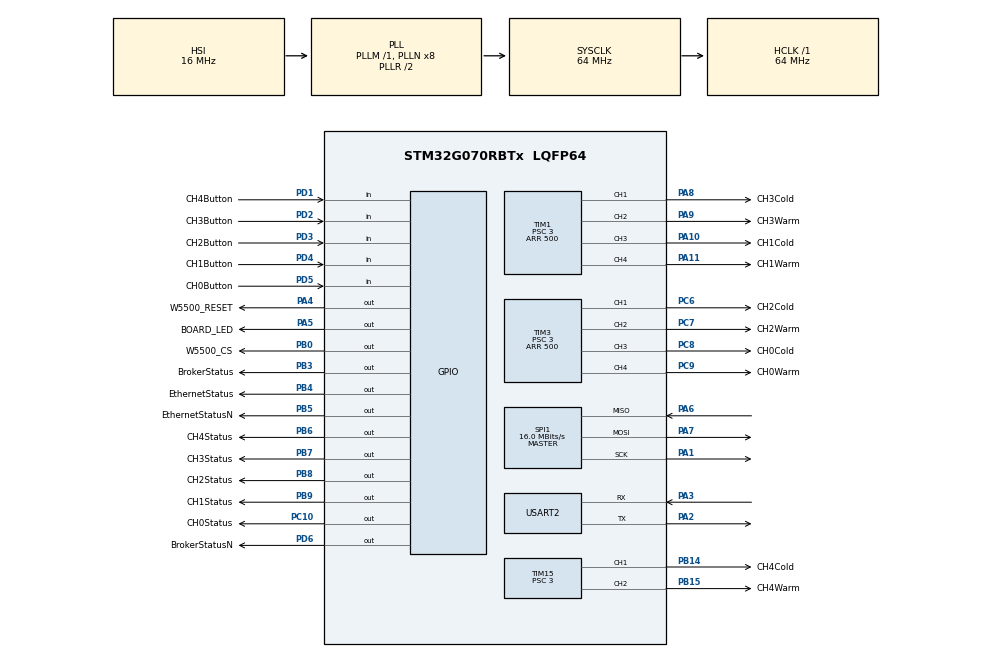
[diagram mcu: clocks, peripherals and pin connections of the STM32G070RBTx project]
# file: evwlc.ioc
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ADC1.Channel-1\#ChannelRegularConversion=ADC_CHANNEL_TEMPSENSOR
ADC1.ChannelTS=ADC_CHANNEL_TEMPSENSOR
ADC1.NbrOfConversionFlag=1
ADC1.Rank-1\#ChannelRegularConversion=1
ADC1.SamplingTime-1\#ChannelRegularConversion=ADC_SAMPLINGTIME_COMMON_1
ADC1.SelectedChannel=ADC_CHANNEL_TEMPSENSOR
ADC1.master=1
Mcu.Family=STM32G0
Mcu.Name=STM32G070RBTx
Mcu.Package=LQFP64
NVIC.TIM6_IRQn=true\:0\:0\:false\:false\:true\:true\:true
NVIC.USART2_IRQn=true\:0\:0\:false\:false\:true\:true\:true
PA1.Mode=Full_Duplex_Master
PA1.Signal=SPI1_SCK
PA10.GPIO_Label=CH1Cold
PA10.Signal=S_TIM1_CH3
PA11\ [PA9].GPIO_Label=CH1Warm
PA11\ [PA9].Signal=S_TIM1_CH4
PA2.Mode=Asynchronous
PA2.Signal=USART2_TX
PA3.Mode=Asynchronous
PA3.Signal=USART2_RX
PA4.GPIO_Label=W5500_RESET
PA4.GPIO_Speed=GPIO_SPEED_FREQ_HIGH
PA4.Signal=GPIO_Output
PA5.GPIO_Label=BOARD_LED
PA5.Signal=GPIO_Output
PA6.Mode=Full_Duplex_Master
PA6.Signal=SPI1_MISO
PA7.Mode=Full_Duplex_Master
PA7.Signal=SPI1_MOSI
PA8.GPIO_Label=CH3Cold
PA8.Signal=S_TIM1_CH1
PA9.GPIO_Label=CH3Warm
PA9.Signal=S_TIM1_CH2
PB0.GPIO_Label=W5500_CS
PB0.GPIO_Speed=GPIO_SPEED_FREQ_HIGH
PB0.Signal=GPIO_Output
PB14.GPIO_Label=CH4Cold
PB14.Signal=S_TIM15_CH1
PB15.GPIO_Label=CH4Warm
PB15.Signal=S_TIM15_CH2
PB3.GPIO_Label=BrokerStatus
PB3.Signal=GPIO_Output
PB4.GPIO_Label=EthernetStatus
PB4.Signal=GPIO_Output
PB5.GPIO_Label=EthernetStatusN
PB5.Signal=GPIO_Output
PB6.GPIO_Label=CH4Status
PB6.Signal=GPIO_Output
PB7.GPIO_Label=CH3Status
PB7.Signal=GPIO_Output
PB8.GPIO_Label=CH2Status
PB8.Signal=GPIO_Output
PB9.GPIO_Label=CH1Status
PB9.Signal=GPIO_Output
PC10.GPIO_Label=CH0Status
PC10.Signal=GPIO_Output
PC6.GPIO_Label=CH2Cold
PC6.Signal=S_TIM3_CH1
PC7.GPIO_Label=CH2Warm
PC7.Signal=S_TIM3_CH2
PC8.GPIO_Label=CH0Cold
PC8.Signal=S_TIM3_CH3
PC9.GPIO_Label=CH0Warm
PC9.Signal=S_TIM3_CH4
PD1.GPIO_Label=CH4Button
PD1.Signal=GPIO_Input
PD2.GPIO_Label=CH3Button
PD2.Signal=GPIO_Input
PD3.GPIO_Label=CH2Button
PD3.Signal=GPIO_Input
PD4.GPIO_Label=CH1Button
PD4.Signal=GPIO_Input
PD5.GPIO_Label=CH0Button
PD5.Signal=GPIO_Input
PD6.GPIO_Label=BrokerStatusN
PD6.Signal=GPIO_Output
ProjectManager.HeapSize=0x200
ProjectManager.StackSize=0x400
ProjectManager.TargetToolchain=STM32CubeIDE
RCC.ADCFreq_Value=64000000
RCC.AHBFreq_Value=64000000
RCC.CortexFreq_Value=64000000
RCC.EXTERNAL_CLOCK_VALUE=48000
RCC.HCLKFreq_Value=64000000
RCC.HSE_VALUE=8000000
RCC.HSI_VALUE=16000000
RCC.LSE_VALUE=32768
RCC.SYSCLKFreq_VALUE=64000000
RCC.SYSCLKSource=RCC_SYSCLKSOURCE_PLLCLK
RCC.VCOOutputFreq_Value=128000000
SH.S_TIM15_CH1.0=TIM15_CH1,PWM Generation1 CH1
SH.S_TIM15_CH2.0=TIM15_CH2,PWM Generation2 CH2
SH.S_TIM1_CH1.0=TIM1_CH1,PWM Generation1 CH1
SH.S_TIM1_CH2.0=TIM1_CH2,PWM Generation2 CH2
SH.S_TIM1_CH3.0=TIM1_CH3,PWM Generation3 CH3
SH.S_TIM1_CH4.0=TIM1_CH4,PWM Generation4 CH4
SH.S_TIM3_CH1.0=TIM3_CH1,PWM Generation1 CH1
SH.S_TIM3_CH2.0=TIM3_CH2,PWM Generation2 CH2
SH.S_TIM3_CH3.0=TIM3_CH3,PWM Generation3 CH3
SH.S_TIM3_CH4.0=TIM3_CH4,PWM Generation4 CH4
SPI1.BaudRatePrescaler=SPI_BAUDRATEPRESCALER_4
SPI1.CalculateBaudRate=16.0 MBits/s
SPI1.DataSize=SPI_DATASIZE_8BIT
SPI1.Direction=SPI_DIRECTION_2LINES
SPI1.Mode=SPI_MODE_MASTER
SPI1.VirtualType=VM_MASTER
TIM1.Channel-PWM\ Generation1\ CH1=TIM_CHANNEL_1
TIM1.Channel-PWM\ Generation2\ CH2=TIM_CHANNEL_2
TIM1.Channel-PWM\ Generation3\ CH3=TIM_CHANNEL_3
TIM1.Channel-PWM\ Generation4\ CH4=TIM_CHANNEL_4
TIM1.Period=500
TIM1.Prescaler=3
TIM15.Channel-PWM\ Generation1\ CH1=TIM_CHANNEL_1
TIM15.Channel-PWM\ Generation2\ CH2=TIM_CHANNEL_2
TIM15.Period=500
TIM15.Prescaler=3
TIM3.Channel-PWM\ Generation1\ CH1=TIM_CHANNEL_1
TIM3.Channel-PWM\ Generation2\ CH2=TIM_CHANNEL_2
TIM3.Channel-PWM\ Generation3\ CH3=TIM_CHANNEL_3
TIM3.Channel-PWM\ Generation4\ CH4=TIM_CHANNEL_4
TIM3.Period=500
TIM3.Prescaler=3
TIM6.Period=1
TIM6.Prescaler=64000-1
USART2.DMADisableonRxErrorParam=ADVFEATURE_DMA_DISABLEONRXERROR
USART2.OverrunDisableParam=ADVFEATURE_OVERRUN_DISABLE
USART2.VirtualMode-Asynchronous=VM_ASYNC
VP_ADC1_TempSens_Input.Mode=IN-TempSens
VP_CRC_VS_CRC.Mode=CRC_Activate
VP_SYS_VS_DBSignals.Mode=DisableDeadBatterySignals
VP_TIM15_VS_ClockSourceINT.Mode=Internal
VP_TIM1_VS_ClockSourceINT.Mode=Internal
VP_TIM3_VS_ClockSourceINT.Mode=Internal
VP_TIM6_VS_ClockSourceINT.Mode=Enable_Timer
board=custom

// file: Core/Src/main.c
/* USER CODE BEGIN Header */
/**
  ******************************************************************************
  * @file           : main.c
  * @brief          : Main program body
  ******************************************************************************
  * @attention
  *
  * Copyright (c) 2021 STMicroelectronics.
  * All rights reserved.
  *
  * This software is licensed under terms that can be found in the LICENSE file
  * in the root directory of this software component.
  * If no LICENSE file comes with this software, it is provided AS-IS.
  *
  ******************************************************************************
  */
/* USER CODE END Header */
#include "main.h"

/* USER CODE BEGIN Includes */
#include <stdio.h>
#include <string.h>
#include <stdbool.h>
#include "wiznet/socket.h"
#include "wiznet/w5500_spi.h"
#include "memory/memory.h"
#include "serial_interface/serial_interface.h"
#include "mqtt_interface.h"
#include "MQTTClient.h"
/* USER CODE END Includes */

/* USER CODE BEGIN PD */
#define HTTP_SOCKET 0
#define MQTT_SOCKET 1

#define RECONNECTION_DELAY 5000
#define UPTIME_SENDING_PERIOD 10000

#define HTTP_SERVER_PORT 80
/* USER CODE END PD */

ADC_HandleTypeDef hadc1;

CRC_HandleTypeDef hcrc;

SPI_HandleTypeDef hspi1;

TIM_HandleTypeDef htim1;
TIM_HandleTypeDef htim3;
TIM_HandleTypeDef htim6;
TIM_HandleTypeDef htim15;

UART_HandleTypeDef huart2;

/* USER CODE BEGIN PV */

bool outputMqttDataToSerial = true;

/* USER CODE END PV */

void SystemClock_Config(void);

static void MX_GPIO_Init(void);

static void MX_ADC1_Init(void);

static void MX_CRC_Init(void);

static void MX_SPI1_Init(void);

static void MX_TIM1_Init(void);

static void MX_TIM3_Init(void);

static void MX_TIM15_Init(void);

static void MX_USART2_UART_Init(void);

static void MX_TIM6_Init(void);

/* USER CODE BEGIN 0 */
uint8_t boardLedState = 0;

char serialNumber[27];

#define CHANNEL_STATES_NUMBER 5

unsigned char mqttSendBuf[512];

unsigned char mqttReceiveBuf[2048];

ChannelState_t channelStates[CHANNEL_STATES_NUMBER];
uint8_t initialActive[CHANNEL_STATES_NUMBER];
uint8_t initialBrightness[CHANNEL_STATES_NUMBER];
uint16_t initialColorTemperature[CHANNEL_STATES_NUMBER];

bool mqttConnected = false;
bool ethernetLink = false;
bool isW5500Inited = false;
bool waitingForEthernetLink = false;
uint16_t messageId = 0;
static char mqttTopicSetAll[128];
static char mqttTopicStateAll[128];
uint8_t mqttTopicSetAllDomainLength = 0;
uint8_t mqttTopicStateAllDomainLength = 0;

uint32_t counter = 0;
volatile uint32_t uptimeSeconds = 0;
volatile uint32_t connectionUptimeSeconds = 0;

uint32_t lastUptimeSendTime = 0;

Config_t config;

AnimationType_t *turnOnAnimation;
AnimationType_t *turnOffAnimation;

Network mqttNetwork;
MQTTClient mqttClient;

typedef enum {
    MF_INIT_START,
    MF_W5500_INITED,
    MF_WAITING_FOR_ETHERNET,
    MF_WAITING_FOR_MQTT_INIT,
    MF_RECONNECTION_TIMEOUT,
    MF_GENERAL_WORKFLOW
} MainFlowStateTypeDef;

static MainFlowStateTypeDef mainFlowState = MF_INIT_START;

uint8_t parseUint8(const char *data, size_t dataLength, uint8_t *result, uint8_t min, uint8_t max) {
    uint16_t buffer = 0;

    if (dataLength > 3) {
        return 0;
    }

    for (size_t i = 0; i < dataLength; ++i) {
        if (data[i] < '0' || data[i] > '9') {
            return 0;
        }

        buffer = buffer * 10 + (data[i] - '0');
    }

    if (buffer < min || buffer > max) {
        return 0;
    }

    *result = (uint8_t) buffer;
    return 1;
}

uint8_t
parseUint16(const char *data, size_t dataLength, uint16_t *result, uint16_t min, uint16_t max) {
    uint32_t buffer = 0;

    if (dataLength > 5) {
        return 0;
    }

    for (size_t i = 0; i < dataLength; ++i) {
        if (data[i] < '0' || data[i] > '9') {
            return 0;
        }

        buffer = buffer * 10 + (data[i] - '0');
    }

    if (buffer < min || buffer > max) {
        return 0;
    }

    *result = (uint16_t) buffer;
    return 1;
}

void publishChannelStateActive(ChannelState_t *channelState) {
    MQTTMessage pubMessage;

    char message[10];
    char topic[150];
    uint8_t rc;

    // active:
    sprintf(topic, "%s/state/%d/active", config.mqttTopic, channelState->id);
    pubMessage.qos = QOS0;
    pubMessage.id = messageId++;
    if (channelState->active) {
        pubMessage.payload = "on";
        pubMessage.payloadlen = 2;
    } else {
        pubMessage.payload = "off";
        pubMessage.payloadlen = 3;
    }
    pubMessage.retained = 1;
    rc = MQTTPublish(&mqttClient, topic, &pubMessage);
    if (outputMqttDataToSerial) {
        if (rc == SUCCESSS) {
            printf("Successfully sent \"%s\" = \"%.*s\"\r\n", topic, pubMessage.payloadlen,
                   (char *) pubMessage.payload);
        } else {
            printf("Unable to send \"%s\" = \"%.*s\"\r\n", topic, pubMessage.payloadlen,
                   (char *) pubMessage.payload);
        }
    }
}

void publishChannelStateBrightness(ChannelState_t *channelState) {
    MQTTMessage pubMessage;

    char message[5];
    char topic[150];
    uint8_t rc;

    sprintf(topic, "%s/state/%d/brightness", config.mqttTopic, channelState->id);
    sprintf(message, "%d", channelState->brightness);
    pubMessage.qos = QOS0;
    pubMessage.id = messageId++;
    pubMessage.payload = message;
    pubMessage.payloadlen = strlen(message);
    pubMessage.retained = 1;
    rc = MQTTPublish(&mqttClient, topic, &pubMessage);
    if (outputMqttDataToSerial) {
        if (rc == SUCCESSS) {
            printf("Successfully sent \"%s\" = \"%.*s\"\r\n", topic, pubMessage.payloadlen,
                   (char *) pubMessage.payload);
        } else {
            printf("Unable to send \"%s\" = \"%.*s\"\r\n", topic, pubMessage.payloadlen,
                   (char *) pubMessage.payload);
        }
    }
}

void publishChannelStateColorTemperature(ChannelState_t *channelState) {
    MQTTMessage pubMessage;

    char message[8];
    char topic[150];
    uint8_t rc;

    sprintf(topic, "%s/state/%d/colorTemperature", config.mqttTopic, channelState->id);
    sprintf(message, "%d", channelState->colorTemperature);
    pubMessage.qos = QOS0;
    pubMessage.id = messageId++;
    pubMessage.payload = message;
    pubMessage.payloadlen = strlen(message);
    pubMessage.retained = 1;
    rc = MQTTPublish(&mqttClient, topic, &pubMessage);
    if (outputMqttDataToSerial) {
        if (rc == SUCCESSS) {
            printf("Successfully sent \"%s\" = \"%.*s\"\r\n", topic, pubMessage.payloadlen,
                   (char *) pubMessage.payload);
        } else {
            printf("Unable to send \"%s\" = \"%.*s\"\r\n", topic, pubMessage.payloadlen,
                   (char *) pubMessage.payload);
        }
    }
}

void publishChannelState(ChannelState_t *channelState) {
    publishChannelStateBrightness(channelState);
    publishChannelStateColorTemperature(channelState);
    publishChannelStateActive(channelState);
}

uint16_t mapUnsigned(uint16_t x, uint16_t inMin, uint16_t inMax, uint16_t outMin, uint16_t outMax) {
    int32_t result = ((int32_t) x - (int32_t) inMin) * ((int32_t) outMax - (int32_t) outMin);
    result = result / ((int32_t) inMax - (int32_t) inMin) + outMin;

    return (uint16_t) result;
}

void setChannelState(ChannelState_t *channelState, uint8_t active, uint8_t brightness,
                     uint16_t colorTemperature) {

    bool changed = channelState->active != active
                   || channelState->brightness != brightness
                   || channelState->colorTemperature != colorTemperature;

    bool wasTurnedOff = !channelState->active;

    channelState->active = active;
    channelState->brightness = brightness;
    channelState->colorTemperature = colorTemperature;

    if (!changed || (wasTurnedOff && !active)) {
        return;
    }

    channelState->isAnimationInProgress = false;

    uint16_t warmStartValue = channelState->warmPwmValue;
    uint16_t coldStartValue = channelState->coldPwmValue;

    uint16_t maxCoefficient = (MAX_COLOR_TEMPERATURE_VALUE + MIN_COLOR_TEMPERATURE_VALUE) / 2 - MIN_COLOR_TEMPERATURE_VALUE;

    uint16_t warmCoefficient = channelState->colorTemperature - MIN_COLOR_TEMPERATURE_VALUE > maxCoefficient
                               ? MAX_COLOR_TEMPERATURE_VALUE - channelState->colorTemperature
                               : maxCoefficient;

    uint16_t coldCoefficient = channelState->colorTemperature - MIN_COLOR_TEMPERATURE_VALUE < maxCoefficient
                               ? channelState->colorTemperature - MIN_COLOR_TEMPERATURE_VALUE
                               : maxCoefficient;

    uint16_t targetBrightnessPWM = channelState->active ? mapUnsigned(
            channelState->brightness,
            MIN_BRIGHTNESS_VALUE,
            MAX_BRIGHTNESS_VALUE,
            MIN_PWM_VALUE,
            MAX_PWM_VALUE
    ) : 0;

    channelState->targetWarmPwmValue = mapUnsigned(
            warmCoefficient,
            0,
            maxCoefficient,
            MIN_PWM_VALUE,
            targetBrightnessPWM
    );

    channelState->targetColdPwmValue = mapUnsigned(
            coldCoefficient,
            0,
            maxCoefficient,
            MIN_PWM_VALUE,
            targetBrightnessPWM
    );

    int32_t warmPwmValueSpan = (int16_t) channelState->targetWarmPwmValue - warmStartValue;
    int32_t coldPwmValueSpan = (int16_t) channelState->targetColdPwmValue - coldStartValue;

    bool isWarmAnimationReversed = (warmPwmValueSpan < 0);
    bool isColdAnimationReversed = (coldPwmValueSpan < 0);

    uint16_t warmRangeStart = warmStartValue < channelState->targetWarmPwmValue
                              ? warmStartValue
                              : channelState->targetWarmPwmValue;
    uint16_t coldRangeStart = coldStartValue < channelState->targetColdPwmValue
                              ? coldStartValue
                              : channelState->targetColdPwmValue;

    uint16_t warmRangeEnd = warmStartValue > channelState->targetWarmPwmValue
                            ? warmStartValue
                            : channelState->targetWarmPwmValue;
    uint16_t coldRangeEnd = coldStartValue > channelState->targetColdPwmValue
                            ? coldStartValue
                            : channelState->targetColdPwmValue;

    for (uint16_t i = 0; i < ANIMATION_STEPS_NUMBER; ++i) {
        channelState->animationWarmChart[i] = mapUnsigned(
                isWarmAnimationReversed
                ? turnOffAnimation->chart[ANIMATION_STEPS_NUMBER - i - 1]
                : turnOnAnimation->chart[i],

                0,
                255,
                warmRangeStart,
                warmRangeEnd
        );

        channelState->animationColdChart[i] = mapUnsigned(
                isColdAnimationReversed
                ? turnOffAnimation->chart[ANIMATION_STEPS_NUMBER - i - 1]
                : turnOnAnimation->chart[i],

                0,
                255,
                coldRangeStart,
                coldRangeEnd
        );
    }

    channelState->animationStep = 0;
    channelState->isAnimationInProgress = true;
}

void stateChangedHandler(MessageData *messageData) {
    MQTTMessage *message = messageData->message;

    bool isStateTopic = false; // reading from 'state' topic instead of 'set'

    char value[40];

    if (strncmp(messageData->topicName->lenstring.data, mqttTopicStateAll,
                mqttTopicStateAllDomainLength) == 0) {
        isStateTopic = true;
    }

    if (isStateTopic) {
        memcpy(value,
               messageData->topicName->lenstring.data + mqttTopicStateAllDomainLength,
               messageData->topicName->lenstring.len - mqttTopicStateAllDomainLength);

        value[messageData->topicName->lenstring.len - mqttTopicStateAllDomainLength] = '\0';
    } else {
        memcpy(value,
               messageData->topicName->lenstring.data + mqttTopicSetAllDomainLength,
               messageData->topicName->lenstring.len - mqttTopicSetAllDomainLength);

        value[messageData->topicName->lenstring.len - mqttTopicSetAllDomainLength] = '\0';
    }

    if (!isStateTopic && messageData->message->retained) {
        // ignore retained "set" messages
        return;
    }

    if (value[0] < '0' || value[0] > (CHANNEL_STATES_NUMBER - 1) + '0' || value[1] != '/') {
#ifdef DEBUG_MODE
        if (outputMqttDataToSerial) {
            printf("Incorrect state message topic received: \"%s\"\r\n", value);
        }
#endif
        return;
    }

    uint8_t channelNumber = value[0] - '0';
    ChannelState_t *channelState = &channelStates[channelNumber];

    char *valuePtr = value + 2;
    uint8_t buffer;

    if (strcmp("active", valuePtr) == 0) {
        if (message->payloadlen == 2 && (strncasecmp(message->payload, "on", 2) == 0)) {
            if (isStateTopic) {
#ifdef DEBUG_MODE
                if (outputMqttDataToSerial) {
                    printf("Received from STATE topic: %d ON\r\n", channelState->id);
                }
#endif
                initialActive[channelState->id] = 1;
            } else {
#ifdef DEBUG_MODE
                if (outputMqttDataToSerial) {
                    printf("Received from SET topic: %d ON\r\n", channelState->id);
                }
#endif
                setChannelState(channelState, 1, channelState->brightness,
                                channelState->colorTemperature);
                publishChannelStateActive(channelState);
            }
        } else if (message->payloadlen == 3 && (strncasecmp(message->payload, "off", 3) == 0)) {
            if (isStateTopic) {
#ifdef DEBUG_MODE
                if (outputMqttDataToSerial) {
                    printf("Received from STATE topic: %d OFF\r\n", channelState->id);
                }
#endif
                initialActive[channelState->id] = 0;
            } else {
#ifdef DEBUG_MODE
                if (outputMqttDataToSerial) {
                    printf("Received from SET topic: %d OFF\r\n", channelState->id);
                }
#endif
                setChannelState(channelState, 0, channelState->brightness,
                                channelState->colorTemperature);
                publishChannelStateActive(channelState);
            }
        } else if (message->payloadlen == 6 && (strncasecmp(message->payload, "toggle", 6) == 0)) {
            if (isStateTopic) {
#ifdef DEBUG_MODE
                if (outputMqttDataToSerial) {
                    printf("Received from STATE topic: %d TOGGLE\r\n", channelState->id);
                }
#endif
                initialActive[channelState->id] = !channelState->active;
            } else {
#ifdef DEBUG_MODE
                if (outputMqttDataToSerial) {
                    printf("Received from SET topic: %d TOGGLE\r\n", channelState->id);
                }
#endif
                setChannelState(channelState, !channelState->active, channelState->brightness,
                                channelState->colorTemperature);
                publishChannelStateActive(channelState);
            }
        } else {
#ifdef DEBUG_MODE
            if (outputMqttDataToSerial) {
                printf("Incorrect active state value: \"%.*s\"\r\n", message->payloadlen,
                       (char *) message->payload);
            }
#endif
        }
    } else if (strcmp("brightness", valuePtr) == 0) {
        if (!parseUint8(message->payload, message->payloadlen, &buffer, 1, 255)) {
#ifdef DEBUG_MODE
            if (outputMqttDataToSerial) {
                printf("Incorrect brightness state value: \"%.*s\"\r\n", message->payloadlen,
                       (char *) message->payload);
            }
#endif
        } else {
            if (isStateTopic) {
#ifdef DEBUG_MODE
                if (outputMqttDataToSerial) {
                    printf("Received from STATE topic: %d brightness=%d\r\n", channelState->id,
                           buffer);
                }
#endif
                initialBrightness[channelState->id] = buffer;
            } else {
#ifdef DEBUG_MODE
                if (outputMqttDataToSerial) {
                    printf("Received from SET topic: %d brightness=%d\r\n", channelState->id,
                           buffer);
                }
#endif
                setChannelState(channelState, channelState->active, buffer,
                                channelState->colorTemperature);
                publishChannelStateBrightness(channelState);
            }
        }
    } else if (strcmp("colorTemperature", valuePtr) == 0) {
        uint16_t bufferColorTemperature = 0;
        if (!parseUint16(message->payload, message->payloadlen, &bufferColorTemperature,
                         MIN_COLOR_TEMPERATURE_VALUE,
                         MAX_COLOR_TEMPERATURE_VALUE)) {
#ifdef DEBUG_MODE
            if (outputMqttDataToSerial) {
                printf("Incorrect colorTemperature state value: \"%.*s\"\r\n", message->payloadlen,
                       (char *) message->payload);
            }
#endif
        } else {
            if (isStateTopic) {
#ifdef DEBUG_MODE
                if (outputMqttDataToSerial) {
                    printf("Received from STATE topic: %d colorTemperature=%d\r\n",
                           channelState->id,
                           bufferColorTemperature);
                }
#endif
                initialColorTemperature[channelState->id] = bufferColorTemperature;
            } else {
#ifdef DEBUG_MODE
                if (outputMqttDataToSerial) {
                    printf("Received from SET topic: %d colorTemperature=%d\r\n",
                           channelState->id,
                           bufferColorTemperature);
                }
#endif
                setChannelState(channelState, channelState->active, channelState->brightness,
                                bufferColorTemperature);
                publishChannelStateColorTemperature(channelState);
            }
        }
    } else {
        if (outputMqttDataToSerial) {
            printf("Undefined state name \"%s\" for channel %d\r\n", valuePtr, channelNumber);
        }
    }
}

bool mqttInit() {
    int result;

    bool functionResult = false;

    sprintf(mqttTopicStateAll, "%s/state/#", config.mqttTopic);
    mqttTopicStateAllDomainLength = strlen(mqttTopicStateAll) - 1;

    sprintf(mqttTopicSetAll, "%s/set/#", config.mqttTopic);
    mqttTopicSetAllDomainLength = strlen(mqttTopicSetAll) - 1;

    NewNetwork(&mqttNetwork, MQTT_SOCKET);
    result = ConnectNetwork(&mqttNetwork, config.mqttBrokerAddress, config.mqttBrokerPort);

#ifdef DEBUG_MODE
    if (outputMqttDataToSerial) {
        printf("ConnectNetwork:%d\r\n", result);
    }
#endif

    if (result == 0) {
        if (outputMqttDataToSerial) {
            printf("Unable to connect to MQTT broker: the broker is not available. Check ip address, port or firewall settings.\r\n");
        }
        return false;
    } else {
        if (outputMqttDataToSerial) {
            printf("Successfully connected to MQTT broker.\r\n");
        }
    }

    MQTTClientInit(&mqttClient, &mqttNetwork, 1000, mqttSendBuf, sizeof mqttSendBuf, mqttReceiveBuf,
                   sizeof mqttReceiveBuf);

    char topic[150];

    MQTTPacket_connectData mqttConnectData = MQTTPacket_connectData_initializer;
    mqttConnectData.willFlag = 1;
    MQTTPacket_willOptions willOptions = MQTTPacket_willOptions_initializer;
    sprintf(topic, "%s/status", config.mqttTopic);
    willOptions.topicName.cstring = topic;
    willOptions.retained = 1;
    willOptions.message.cstring = "offline";
    willOptions.qos = QOS0;
    mqttConnectData.will = willOptions;
    mqttConnectData.MQTTVersion = 4;
    mqttConnectData.clientID.cstring = config.mqttClientId;
    mqttConnectData.username.cstring = config.mqttLogin;
    mqttConnectData.password.cstring = config.mqttPassword;

    mqttConnectData.keepAliveInterval = 60;
    mqttConnectData.cleansession = 1;

    enum returnCode rc;

    rc = MQTTConnect(&mqttClient, &mqttConnectData);
    if (rc == SUCCESSS) {
        if (outputMqttDataToSerial) {
            printf("Successfully passed auth at MQTT broker\r\n");
        }
        connectionUptimeSeconds = 0;
    } else {
        if (outputMqttDataToSerial) {
            printf("Unable to auth at MQTT broker. Check login or password\r\n");
        }
        return false;
    }

    for (uint8_t i = 0; i < CHANNEL_STATES_NUMBER; ++i) {
        initialActive[i] = channelStates[i].active;
        initialBrightness[i] = channelStates[i].brightness;
        initialColorTemperature[i] = channelStates[i].colorTemperature;
    }

    // subscribe to state topic to get initial data (from retained messages)

    rc = MQTTSubscribe(&mqttClient, mqttTopicStateAll, QOS0, stateChangedHandler);
    if (rc == SUCCESSS) {
#ifdef DEBUG_MODE
        if (outputMqttDataToSerial) {
            printf("Subscribed to topic \"%s\"\r\n", mqttTopicStateAll);
        }
#endif
    } else {
        if (outputMqttDataToSerial) {
            printf("Unable to subscribe to topic \"%s\"\r\n", mqttTopicStateAll);
        }
        MQTTDisconnect(&mqttClient);
        return false;
    }

    // unsubscribe from state topic, all retained messages are already received:
    rc = MQTTUnsubscribe(&mqttClient, mqttTopicStateAll);
    if (rc == SUCCESSS) {
#ifdef DEBUG_MODE
        if (outputMqttDataToSerial) {
            printf("Unsubscribed from topic \"%s\"\r\n", mqttTopicStateAll);
        }
#endif
    } else {
        if (outputMqttDataToSerial) {
            printf("Unable to unsubscribe from topic \"%s\"\r\n", mqttTopicStateAll);
        }
        MQTTDisconnect(&mqttClient);
        return false;
    }

    for (uint8_t i = 0; i < CHANNEL_STATES_NUMBER; ++i) {
        setChannelState(&channelStates[i], initialActive[i], initialBrightness[i],
                        initialColorTemperature[i]);
        publishChannelState(&channelStates[i]);
    }

    // subscribe to /set/ topic to receive control operations:
    rc = MQTTSubscribe(&mqttClient, mqttTopicSetAll, QOS0, stateChangedHandler);
    if (rc == SUCCESSS) {
#ifdef DEBUG_MODE
        if (outputMqttDataToSerial) {
            printf("Subscribed to topic \"%s\"\r\n", mqttTopicSetAll);
        }
#endif
    } else {
        if (outputMqttDataToSerial) {
            printf("Unable to subscribe to topic \"%s\"\r\n", mqttTopicSetAll);
        }
        MQTTDisconnect(&mqttClient);
        return false;
    }

    MQTTMessage pubMessage;

    char message[] = "online";

    sprintf(topic, "%s/status", config.mqttTopic);

    pubMessage.qos = QOS0;
    pubMessage.id = messageId++;
    pubMessage.payload = message;
    pubMessage.payloadlen = sizeof message - 1;
    pubMessage.retained = 1;
    rc = MQTTPublish(&mqttClient, topic, &pubMessage);
    if (rc == SUCCESSS) {
#ifdef DEBUG_MODE
        if (outputMqttDataToSerial) {
            printf("Online message is sent to topic \"%s\"\r\n", topic);
        }
#endif
    } else {
#ifdef DEBUG_MODE
        if (outputMqttDataToSerial) {
            printf("Unable to send online message\r\n");
        }
#endif
    }
}

void sendUptime() {
    MQTTMessage pubMessage;
    char topic[120];
    sprintf(topic, "%s/uptimeSeconds", config.mqttTopic);
    char message[12];
    sprintf(message, "%lu", uptimeSeconds);

    pubMessage.qos = QOS0;
    pubMessage.payload = message;
    pubMessage.payloadlen = strlen(message);
    pubMessage.retained = 0;

    if (MQTTPublish(&mqttClient, topic, &pubMessage) == SUCCESSS) {
        if (outputMqttDataToSerial) {
            printf("Message is sent to topic \"%s\"\r\n", topic);
        }
    } else {
        if (outputMqttDataToSerial) {
            printf("Unable to send the uptime message\r\n");
        }
    }

    lastUptimeSendTime = HAL_GetTick();
}

void sendConnectionUptime() {
    MQTTMessage pubMessage;
    char topic[120];
    sprintf(topic, "%s/connectionUptimeSeconds", config.mqttTopic);
    char message[12];
    sprintf(message, "%lu", connectionUptimeSeconds);

    pubMessage.qos = QOS0;
    pubMessage.payload = message;
    pubMessage.payloadlen = strlen(message);
    pubMessage.retained = 0;

    if (MQTTPublish(&mqttClient, topic, &pubMessage) == SUCCESSS) {
        if (outputMqttDataToSerial) {
            printf("Message is sent to topic \"%s\"\r\n", topic);
        }
    } else {
        if (outputMqttDataToSerial) {
            printf("Unable to send the connectionUptime message\r\n");
        }
    }

    lastUptimeSendTime = HAL_GetTick();
}

static uint16_t timerSecondCounter = 0;
static uint8_t timerAnimationFrameCounter = 0;

void timerTick() {
    // timer ticks each 1ms

    ++timerSecondCounter;
    ++timerAnimationFrameCounter;

    if (timerSecondCounter >= 1000) {
        timerSecondCounter = 0;
        ++uptimeSeconds;
        ++connectionUptimeSeconds;
    }

    if (timerAnimationFrameCounter >= 3) {
        timerAnimationFrameCounter = 0;

        for (uint8_t i = 0; i < CHANNEL_STATES_NUMBER; ++i) {
            ChannelState_t *channelState = &(channelStates[i]);
            if (!channelState->isAnimationInProgress) {
                continue;
            }

            if (channelState->animationStep >= ANIMATION_STEPS_NUMBER) {
                channelState->isAnimationInProgress = false;
                channelState->animationStep = 0;

                channelState->warmPwmValue = channelState->targetWarmPwmValue;
                channelState->coldPwmValue = channelState->targetColdPwmValue;
                *channelState->warmTimerCCR = channelState->warmPwmValue;
                *channelState->coldTimerCCR = channelState->coldPwmValue;
                continue;
            }

            channelState->warmPwmValue = channelState->animationWarmChart[channelState->animationStep];
            channelState->coldPwmValue = channelState->animationColdChart[channelState->animationStep];

            *channelState->warmTimerCCR = channelState->warmPwmValue;
            *channelState->coldTimerCCR = channelState->coldPwmValue;

            ++channelState->animationStep;
        }
    }
}

void initChannelStates() {
    channelStates[0].warmTimerHandle = &htim3;
    channelStates[0].warmTimerChannel = TIM_CHANNEL_4;
    channelStates[0].warmTimerCCR = &(htim3.Instance->CCR4);
    channelStates[0].coldTimerHandle = &htim3;
    channelStates[0].coldTimerChannel = TIM_CHANNEL_3;
    channelStates[0].coldTimerCCR = &(htim3.Instance->CCR3);

    channelStates[1].warmTimerHandle = &htim1;
    channelStates[1].warmTimerChannel = TIM_CHANNEL_4;
    channelStates[1].warmTimerCCR = &(htim1.Instance->CCR4);
    channelStates[1].coldTimerHandle = &htim1;
    channelStates[1].coldTimerChannel = TIM_CHANNEL_3;
    channelStates[1].coldTimerCCR = &(htim1.Instance->CCR3);

    channelStates[2].warmTimerHandle = &htim3;
    channelStates[2].warmTimerChannel = TIM_CHANNEL_2;
    channelStates[2].warmTimerCCR = &(htim3.Instance->CCR2);
    channelStates[2].coldTimerHandle = &htim3;
    channelStates[2].coldTimerChannel = TIM_CHANNEL_1;
    channelStates[2].coldTimerCCR = &(htim3.Instance->CCR1);

    channelStates[3].warmTimerHandle = &htim1;
    channelStates[3].warmTimerChannel = TIM_CHANNEL_2;
    channelStates[3].warmTimerCCR = &(htim1.Instance->CCR2);
    channelStates[3].coldTimerHandle = &htim1;
    channelStates[3].coldTimerChannel = TIM_CHANNEL_1;
    channelStates[3].coldTimerCCR = &(htim1.Instance->CCR1);

    channelStates[4].warmTimerHandle = &htim15;
    channelStates[4].warmTimerChannel = TIM_CHANNEL_2;
    channelStates[4].warmTimerCCR = &(htim15.Instance->CCR2);
    channelStates[4].coldTimerHandle = &htim15;
    channelStates[4].coldTimerChannel = TIM_CHANNEL_1;
    channelStates[4].coldTimerCCR = &(htim15.Instance->CCR1);

    for (uint32_t i = 0; i < CHANNEL_STATES_NUMBER; ++i) {
        ChannelState_t *channelState = &(channelStates[i]);
        channelState->id = i;
        channelState->isAnimationInProgress = false;
        memset(channelState->animationColdChart, 0, ANIMATION_STEPS_NUMBER);
        memset(channelState->animationWarmChart, 0, ANIMATION_STEPS_NUMBER);
        channelState->animationStep = 0;
        channelState->coldPwmValue = 0;
        channelState->warmPwmValue = 0;
        channelState->targetColdPwmValue = 0;
        channelState->targetWarmPwmValue = 0;

        channelStates[i].active = 0;
        channelStates[i].brightness = (MAX_BRIGHTNESS_VALUE + MIN_BRIGHTNESS_VALUE) / 2;
        channelStates[i].colorTemperature =
                (MAX_COLOR_TEMPERATURE_VALUE + MIN_COLOR_TEMPERATURE_VALUE) / 2;

        HAL_TIM_PWM_Start(channelStates[i].warmTimerHandle, channelStates[i].warmTimerChannel);
        HAL_TIM_PWM_Start(channelStates[i].coldTimerHandle, channelStates[i].coldTimerChannel);
    }
}

uint32_t reconnectionStartTime = 0;
uint32_t reconnectionTimeout = 3000;

/**
 * Changes mainFlowState to MF_RECONNECTION_TIMEOUT
 */
void reconnect() {
    reconnectionStartTime = HAL_GetTick();
    mainFlowState = MF_RECONNECTION_TIMEOUT;
    if (outputMqttDataToSerial) {
        printf("Reconnection timeout %lus\r\n", reconnectionTimeout / 1000);
    }
}

/* USER CODE END 0 */

int main(void) {

    /* MCU Configuration--------------------------------------------------------*/

    /* Reset of all peripherals, Initializes the Flash interface and the Systick. */
    HAL_Init();

    /* Configure the system clock */
    SystemClock_Config();

    /* Initialize all configured peripherals */
    MX_GPIO_Init();
    MX_ADC1_Init();
    MX_CRC_Init();
    MX_SPI1_Init();
    MX_TIM1_Init();
    MX_TIM3_Init();
    MX_TIM15_Init();
    MX_USART2_UART_Init();
    MX_TIM6_Init();
    /* USER CODE BEGIN 2 */
    // read serial number:

    turnOnAnimation = &animations[1];
    turnOffAnimation = &animations[3];

    sprintf(serialNumber, "%08lx-%08lx-%08lx", HAL_GetUIDw0(), HAL_GetUIDw1(), HAL_GetUIDw2());
    initSerialInterface(&huart2, serialNumber);
    printf("\r\n\r\n");

    printf("Serial Number: \"%s\"\r\n", serialNumber);
    printf("Size of config: %d\r\n", sizeof config);

    readMemoryConfig(CONFIG_VERSION, &config);

    printf("Initializing W5500...\r\n");
    W5500Init(&config);
    printNetworkInfo();
    mainFlowState = MF_W5500_INITED;

    HAL_TIM_Base_Start_IT(&htim6);

    initChannelStates();
    /* USER CODE END 2 */

    /* Infinite loop */
    /* USER CODE BEGIN WHILE */
    while (1) {
        serialPortRoutine();

        switch (mainFlowState) {
            case MF_INIT_START:
                if (outputMqttDataToSerial) {
                    printf("Initializing W5500...\r\n");
                }
                W5500Init(&config);
                printNetworkInfo();
                mainFlowState = MF_W5500_INITED;
                break;
            case MF_W5500_INITED:
                if (outputMqttDataToSerial) {
                    printf("W5500 is initialized. Waiting for ethernet link...\r\n");
                }
                mainFlowState = MF_WAITING_FOR_ETHERNET;
                break;
            case MF_WAITING_FOR_ETHERNET:
                if (isEthernetLink()) {
                    if (outputMqttDataToSerial) {
                        printf("Ethernet link is established\r\n");
                    }
                    mainFlowState = MF_WAITING_FOR_MQTT_INIT;
                }
                break;
            case MF_WAITING_FOR_MQTT_INIT:
                if (outputMqttDataToSerial) {
                    printf("Trying to connect to MQTT broker...\r\n");
                }
                if (mqttInit()) {
                    mainFlowState = MF_GENERAL_WORKFLOW;
                } else {
                    reconnect();
                }

                break;
            case MF_RECONNECTION_TIMEOUT:
                if (HAL_GetTick() - reconnectionStartTime > reconnectionTimeout) {
                    mainFlowState = MF_INIT_START;
                }
                break;
            case MF_GENERAL_WORKFLOW:
                if (MQTTYield(&mqttClient, 1000) != SUCCESSS) {
                    mqttConnected = false;
                    if (outputMqttDataToSerial) {
                        printf("MQTT connection failed\r\n");
                    }
                }

                if (HAL_GetTick() - lastUptimeSendTime > UPTIME_SENDING_PERIOD) {
                    sendConnectionUptime();
                    sendUptime();
                }

                uint8_t socketStatus = getSn_SR(MQTT_SOCKET);

                if (socketStatus != SOCK_ESTABLISHED) {
                    if (outputMqttDataToSerial) {
                        printf("Socket status has changed: %x\r\n", socketStatus);
                        printf("MQTT broker has disconnected\r\n");
                    }
                    reconnect();
                }

                if (!isEthernetLink()) {
                    if (outputMqttDataToSerial) {
                        printf("Ethernet disconnected\r\n");
                    }
                    reconnect();
                }
                break;

            default:
                break;
        }
        /* USER CODE END WHILE */

    }
}

void SystemClock_Config(void) {
    RCC_OscInitTypeDef RCC_OscInitStruct = {0};
    RCC_ClkInitTypeDef RCC_ClkInitStruct = {0};

    /** Configure the main internal regulator output voltage
    */
    HAL_PWREx_ControlVoltageScaling(PWR_REGULATOR_VOLTAGE_SCALE1);
    /** Initializes the RCC Oscillators according to the specified parameters
    * in the RCC_OscInitTypeDef structure.
    */
    RCC_OscInitStruct.OscillatorType = RCC_OSCILLATORTYPE_HSI;
    RCC_OscInitStruct.HSIState = RCC_HSI_ON;
    RCC_OscInitStruct.HSIDiv = RCC_HSI_DIV1;
    RCC_OscInitStruct.HSICalibrationValue = RCC_HSICALIBRATION_DEFAULT;
    RCC_OscInitStruct.PLL.PLLState = RCC_PLL_ON;
    RCC_OscInitStruct.PLL.PLLSource = RCC_PLLSOURCE_HSI;
    RCC_OscInitStruct.PLL.PLLM = RCC_PLLM_DIV1;
    RCC_OscInitStruct.PLL.PLLN = 8;
    RCC_OscInitStruct.PLL.PLLP = RCC_PLLP_DIV2;
    RCC_OscInitStruct.PLL.PLLR = RCC_PLLR_DIV2;
    if (HAL_RCC_OscConfig(&RCC_OscInitStruct) != HAL_OK) {
        Error_Handler();
    }
    /** Initializes the CPU, AHB and APB buses clocks
    */
    RCC_ClkInitStruct.ClockType = RCC_CLOCKTYPE_HCLK | RCC_CLOCKTYPE_SYSCLK
                                  | RCC_CLOCKTYPE_PCLK1;
    RCC_ClkInitStruct.SYSCLKSource = RCC_SYSCLKSOURCE_PLLCLK;
    RCC_ClkInitStruct.AHBCLKDivider = RCC_SYSCLK_DIV1;
    RCC_ClkInitStruct.APB1CLKDivider = RCC_HCLK_DIV1;

    if (HAL_RCC_ClockConfig(&RCC_ClkInitStruct, FLASH_LATENCY_2) != HAL_OK) {
        Error_Handler();
    }
}

static void MX_ADC1_Init(void) {

    ADC_ChannelConfTypeDef sConfig = {0};

    /** Configure the global features of the ADC (Clock, Resolution, Data Alignment and number of conversion)
    */
    hadc1.Instance = ADC1;
    hadc1.Init.ClockPrescaler = ADC_CLOCK_SYNC_PCLK_DIV2;
    hadc1.Init.Resolution = ADC_RESOLUTION_12B;
    hadc1.Init.DataAlign = ADC_DATAALIGN_RIGHT;
    hadc1.Init.ScanConvMode = ADC_SCAN_DISABLE;
    hadc1.Init.EOCSelection = ADC_EOC_SINGLE_CONV;
    hadc1.Init.LowPowerAutoWait = DISABLE;
    hadc1.Init.LowPowerAutoPowerOff = DISABLE;
    hadc1.Init.ContinuousConvMode = DISABLE;
    hadc1.Init.NbrOfConversion = 1;
    hadc1.Init.DiscontinuousConvMode = DISABLE;
    hadc1.Init.ExternalTrigConv = ADC_SOFTWARE_START;
    hadc1.Init.ExternalTrigConvEdge = ADC_EXTERNALTRIGCONVEDGE_NONE;
    hadc1.Init.DMAContinuousRequests = DISABLE;
    hadc1.Init.Overrun = ADC_OVR_DATA_PRESERVED;
    hadc1.Init.SamplingTimeCommon1 = ADC_SAMPLETIME_1CYCLE_5;
    hadc1.Init.SamplingTimeCommon2 = ADC_SAMPLETIME_1CYCLE_5;
    hadc1.Init.OversamplingMode = DISABLE;
    hadc1.Init.TriggerFrequencyMode = ADC_TRIGGER_FREQ_HIGH;
    if (HAL_ADC_Init(&hadc1) != HAL_OK) {
        Error_Handler();
    }
    /** Configure Regular Channel
    */
    sConfig.Channel = ADC_CHANNEL_TEMPSENSOR;
    sConfig.Rank = ADC_REGULAR_RANK_1;
    sConfig.SamplingTime = ADC_SAMPLINGTIME_COMMON_1;
    if (HAL_ADC_ConfigChannel(&hadc1, &sConfig) != HAL_OK) {
        Error_Handler();
    }

}

static void MX_CRC_Init(void) {

    hcrc.Instance = CRC;
    hcrc.Init.DefaultPolynomialUse = DEFAULT_POLYNOMIAL_ENABLE;
    hcrc.Init.DefaultInitValueUse = DEFAULT_INIT_VALUE_ENABLE;
    hcrc.Init.InputDataInversionMode = CRC_INPUTDATA_INVERSION_NONE;
    hcrc.Init.OutputDataInversionMode = CRC_OUTPUTDATA_INVERSION_DISABLE;
    hcrc.InputDataFormat = CRC_INPUTDATA_FORMAT_BYTES;
    if (HAL_CRC_Init(&hcrc) != HAL_OK) {
        Error_Handler();
    }

}

static void MX_SPI1_Init(void) {

    /* SPI1 parameter configuration*/
    hspi1.Instance = SPI1;
    hspi1.Init.Mode = SPI_MODE_MASTER;
    hspi1.Init.Direction = SPI_DIRECTION_2LINES;
    hspi1.Init.DataSize = SPI_DATASIZE_8BIT;
    hspi1.Init.CLKPolarity = SPI_POLARITY_LOW;
    hspi1.Init.CLKPhase = SPI_PHASE_1EDGE;
    hspi1.Init.NSS = SPI_NSS_SOFT;
    hspi1.Init.BaudRatePrescaler = SPI_BAUDRATEPRESCALER_4;
    hspi1.Init.FirstBit = SPI_FIRSTBIT_MSB;
    hspi1.Init.TIMode = SPI_TIMODE_DISABLE;
    hspi1.Init.CRCCalculation = SPI_CRCCALCULATION_DISABLE;
    hspi1.Init.CRCPolynomial = 7;
    hspi1.Init.CRCLength = SPI_CRC_LENGTH_DATASIZE;
    hspi1.Init.NSSPMode = SPI_NSS_PULSE_ENABLE;
    if (HAL_SPI_Init(&hspi1) != HAL_OK) {
        Error_Handler();
    }

}

static void MX_TIM1_Init(void) {

    TIM_ClockConfigTypeDef sClockSourceConfig = {0};
    TIM_MasterConfigTypeDef sMasterConfig = {0};
    TIM_OC_InitTypeDef sConfigOC = {0};
    TIM_BreakDeadTimeConfigTypeDef sBreakDeadTimeConfig = {0};

    htim1.Instance = TIM1;
    htim1.Init.Prescaler = 3;
    htim1.Init.CounterMode = TIM_COUNTERMODE_UP;
    htim1.Init.Period = 500;
    htim1.Init.ClockDivision = TIM_CLOCKDIVISION_DIV1;
    htim1.Init.RepetitionCounter = 0;
    htim1.Init.AutoReloadPreload = TIM_AUTORELOAD_PRELOAD_DISABLE;
    if (HAL_TIM_Base_Init(&htim1) != HAL_OK) {
        Error_Handler();
    }
    sClockSourceConfig.ClockSource = TIM_CLOCKSOURCE_INTERNAL;
    if (HAL_TIM_ConfigClockSource(&htim1, &sClockSourceConfig) != HAL_OK) {
        Error_Handler();
    }
    if (HAL_TIM_PWM_Init(&htim1) != HAL_OK) {
        Error_Handler();
    }
    sMasterConfig.MasterOutputTrigger = TIM_TRGO_RESET;
    sMasterConfig.MasterOutputTrigger2 = TIM_TRGO2_RESET;
    sMasterConfig.MasterSlaveMode = TIM_MASTERSLAVEMODE_DISABLE;
    if (HAL_TIMEx_MasterConfigSynchronization(&htim1, &sMasterConfig) != HAL_OK) {
        Error_Handler();
    }
    sConfigOC.OCMode = TIM_OCMODE_PWM1;
    sConfigOC.Pulse = 0;
    sConfigOC.OCPolarity = TIM_OCPOLARITY_HIGH;
    sConfigOC.OCNPolarity = TIM_OCNPOLARITY_HIGH;
    sConfigOC.OCFastMode = TIM_OCFAST_DISABLE;
    sConfigOC.OCIdleState = TIM_OCIDLESTATE_RESET;
    sConfigOC.OCNIdleState = TIM_OCNIDLESTATE_RESET;
    if (HAL_TIM_PWM_ConfigChannel(&htim1, &sConfigOC, TIM_CHANNEL_1) != HAL_OK) {
        Error_Handler();
    }
    if (HAL_TIM_PWM_ConfigChannel(&htim1, &sConfigOC, TIM_CHANNEL_2) != HAL_OK) {
        Error_Handler();
    }
    if (HAL_TIM_PWM_ConfigChannel(&htim1, &sConfigOC, TIM_CHANNEL_3) != HAL_OK) {
        Error_Handler();
    }
    if (HAL_TIM_PWM_ConfigChannel(&htim1, &sConfigOC, TIM_CHANNEL_4) != HAL_OK) {
        Error_Handler();
    }
    sBreakDeadTimeConfig.OffStateRunMode = TIM_OSSR_DISABLE;
    sBreakDeadTimeConfig.OffStateIDLEMode = TIM_OSSI_DISABLE;
    sBreakDeadTimeConfig.LockLevel = TIM_LOCKLEVEL_OFF;
    sBreakDeadTimeConfig.DeadTime = 0;
    sBreakDeadTimeConfig.BreakState = TIM_BREAK_DISABLE;
    sBreakDeadTimeConfig.BreakPolarity = TIM_BREAKPOLARITY_HIGH;
    sBreakDeadTimeConfig.BreakFilter = 0;
    sBreakDeadTimeConfig.BreakAFMode = TIM_BREAK_AFMODE_INPUT;
    sBreakDeadTimeConfig.Break2State = TIM_BREAK2_DISABLE;
    sBreakDeadTimeConfig.Break2Polarity = TIM_BREAK2POLARITY_HIGH;
    sBreakDeadTimeConfig.Break2Filter = 0;
    sBreakDeadTimeConfig.Break2AFMode = TIM_BREAK_AFMODE_INPUT;
    sBreakDeadTimeConfig.AutomaticOutput = TIM_AUTOMATICOUTPUT_DISABLE;
    if (HAL_TIMEx_ConfigBreakDeadTime(&htim1, &sBreakDeadTimeConfig) != HAL_OK) {
        Error_Handler();
    }
    HAL_TIM_MspPostInit(&htim1);

}

static void MX_TIM3_Init(void) {

    TIM_ClockConfigTypeDef sClockSourceConfig = {0};
    TIM_MasterConfigTypeDef sMasterConfig = {0};
    TIM_OC_InitTypeDef sConfigOC = {0};

    htim3.Instance = TIM3;
    htim3.Init.Prescaler = 3;
    htim3.Init.CounterMode = TIM_COUNTERMODE_UP;
    htim3.Init.Period = 500;
    htim3.Init.ClockDivision = TIM_CLOCKDIVISION_DIV1;
    htim3.Init.AutoReloadPreload = TIM_AUTORELOAD_PRELOAD_DISABLE;
    if (HAL_TIM_Base_Init(&htim3) != HAL_OK) {
        Error_Handler();
    }
    sClockSourceConfig.ClockSource = TIM_CLOCKSOURCE_INTERNAL;
    if (HAL_TIM_ConfigClockSource(&htim3, &sClockSourceConfig) != HAL_OK) {
        Error_Handler();
    }
    if (HAL_TIM_PWM_Init(&htim3) != HAL_OK) {
        Error_Handler();
    }
    sMasterConfig.MasterOutputTrigger = TIM_TRGO_RESET;
    sMasterConfig.MasterSlaveMode = TIM_MASTERSLAVEMODE_DISABLE;
    if (HAL_TIMEx_MasterConfigSynchronization(&htim3, &sMasterConfig) != HAL_OK) {
        Error_Handler();
    }
    sConfigOC.OCMode = TIM_OCMODE_PWM1;
    sConfigOC.Pulse = 0;
    sConfigOC.OCPolarity = TIM_OCPOLARITY_HIGH;
    sConfigOC.OCFastMode = TIM_OCFAST_DISABLE;
    if (HAL_TIM_PWM_ConfigChannel(&htim3, &sConfigOC, TIM_CHANNEL_1) != HAL_OK) {
        Error_Handler();
    }
    if (HAL_TIM_PWM_ConfigChannel(&htim3, &sConfigOC, TIM_CHANNEL_2) != HAL_OK) {
        Error_Handler();
    }
    if (HAL_TIM_PWM_ConfigChannel(&htim3, &sConfigOC, TIM_CHANNEL_3) != HAL_OK) {
        Error_Handler();
    }
    if (HAL_TIM_PWM_ConfigChannel(&htim3, &sConfigOC, TIM_CHANNEL_4) != HAL_OK) {
        Error_Handler();
    }
    HAL_TIM_MspPostInit(&htim3);

}

static void MX_TIM6_Init(void) {

    TIM_MasterConfigTypeDef sMasterConfig = {0};

    htim6.Instance = TIM6;
    htim6.Init.Prescaler = 64000 - 1;
    htim6.Init.CounterMode = TIM_COUNTERMODE_UP;
    htim6.Init.Period = 1;
    htim6.Init.AutoReloadPreload = TIM_AUTORELOAD_PRELOAD_DISABLE;
    if (HAL_TIM_Base_Init(&htim6) != HAL_OK) {
        Error_Handler();
    }
    sMasterConfig.MasterOutputTrigger = TIM_TRGO_RESET;
    sMasterConfig.MasterSlaveMode = TIM_MASTERSLAVEMODE_DISABLE;
    if (HAL_TIMEx_MasterConfigSynchronization(&htim6, &sMasterConfig) != HAL_OK) {
        Error_Handler();
    }

}

static void MX_TIM15_Init(void) {

    TIM_ClockConfigTypeDef sClockSourceConfig = {0};
    TIM_MasterConfigTypeDef sMasterConfig = {0};
    TIM_OC_InitTypeDef sConfigOC = {0};
    TIM_BreakDeadTimeConfigTypeDef sBreakDeadTimeConfig = {0};

    htim15.Instance = TIM15;
    htim15.Init.Prescaler = 3;
    htim15.Init.CounterMode = TIM_COUNTERMODE_UP;
    htim15.Init.Period = 500;
    htim15.Init.ClockDivision = TIM_CLOCKDIVISION_DIV1;
    htim15.Init.RepetitionCounter = 0;
    htim15.Init.AutoReloadPreload = TIM_AUTORELOAD_PRELOAD_DISABLE;
    if (HAL_TIM_Base_Init(&htim15) != HAL_OK) {
        Error_Handler();
    }
    sClockSourceConfig.ClockSource = TIM_CLOCKSOURCE_INTERNAL;
    if (HAL_TIM_ConfigClockSource(&htim15, &sClockSourceConfig) != HAL_OK) {
        Error_Handler();
    }
    if (HAL_TIM_PWM_Init(&htim15) != HAL_OK) {
        Error_Handler();
    }
    sMasterConfig.MasterOutputTrigger = TIM_TRGO_RESET;
    sMasterConfig.MasterSlaveMode = TIM_MASTERSLAVEMODE_DISABLE;
    if (HAL_TIMEx_MasterConfigSynchronization(&htim15, &sMasterConfig) != HAL_OK) {
        Error_Handler();
    }
    sConfigOC.OCMode = TIM_OCMODE_PWM1;
    sConfigOC.Pulse = 0;
    sConfigOC.OCPolarity = TIM_OCPOLARITY_HIGH;
    sConfigOC.OCNPolarity = TIM_OCNPOLARITY_HIGH;
    sConfigOC.OCFastMode = TIM_OCFAST_DISABLE;
    sConfigOC.OCIdleState = TIM_OCIDLESTATE_RESET;
    sConfigOC.OCNIdleState = TIM_OCNIDLESTATE_RESET;
    if (HAL_TIM_PWM_ConfigChannel(&htim15, &sConfigOC, TIM_CHANNEL_1) != HAL_OK) {
        Error_Handler();
    }
    if (HAL_TIM_PWM_ConfigChannel(&htim15, &sConfigOC, TIM_CHANNEL_2) != HAL_OK) {
        Error_Handler();
    }
    sBreakDeadTimeConfig.OffStateRunMode = TIM_OSSR_DISABLE;
    sBreakDeadTimeConfig.OffStateIDLEMode = TIM_OSSI_DISABLE;
    sBreakDeadTimeConfig.LockLevel = TIM_LOCKLEVEL_OFF;
    sBreakDeadTimeConfig.DeadTime = 0;
    sBreakDeadTimeConfig.BreakState = TIM_BREAK_DISABLE;
    sBreakDeadTimeConfig.BreakPolarity = TIM_BREAKPOLARITY_HIGH;
    sBreakDeadTimeConfig.BreakFilter = 0;
    sBreakDeadTimeConfig.AutomaticOutput = TIM_AUTOMATICOUTPUT_DISABLE;
    if (HAL_TIMEx_ConfigBreakDeadTime(&htim15, &sBreakDeadTimeConfig) != HAL_OK) {
        Error_Handler();
    }
    HAL_TIM_MspPostInit(&htim15);

}

static void MX_USART2_UART_Init(void) {

    huart2.Instance = USART2;
    huart2.Init.BaudRate = 115200;
    huart2.Init.WordLength = UART_WORDLENGTH_8B;
    huart2.Init.StopBits = UART_STOPBITS_1;
    huart2.Init.Parity = UART_PARITY_NONE;
    huart2.Init.Mode = UART_MODE_TX_RX;
    huart2.Init.HwFlowCtl = UART_HWCONTROL_NONE;
    huart2.Init.OverSampling = UART_OVERSAMPLING_16;
    huart2.Init.OneBitSampling = UART_ONE_BIT_SAMPLE_DISABLE;
    huart2.Init.ClockPrescaler = UART_PRESCALER_DIV1;
    huart2.AdvancedInit.AdvFeatureInit =
            UART_ADVFEATURE_RXOVERRUNDISABLE_INIT | UART_ADVFEATURE_DMADISABLEONERROR_INIT;
    huart2.AdvancedInit.OverrunDisable = UART_ADVFEATURE_OVERRUN_DISABLE;
    huart2.AdvancedInit.DMADisableonRxError = UART_ADVFEATURE_DMA_DISABLEONRXERROR;
    if (HAL_UART_Init(&huart2) != HAL_OK) {
        Error_Handler();
    }
    if (HAL_UARTEx_SetTxFifoThreshold(&huart2, UART_TXFIFO_THRESHOLD_1_8) != HAL_OK) {
        Error_Handler();
    }
    if (HAL_UARTEx_SetRxFifoThreshold(&huart2, UART_RXFIFO_THRESHOLD_1_8) != HAL_OK) {
        Error_Handler();
    }
    if (HAL_UARTEx_DisableFifoMode(&huart2) != HAL_OK) {
        Error_Handler();
    }
    /* USER CODE BEGIN USART2_Init 2 */
    huart2.Instance->CR1 |= USART_CR1_RXNEIE_RXFNEIE;
    NVIC_SetPriority(USART2_IRQn, 2); // set priority level
    NVIC_EnableIRQ(USART2_IRQn);
    /* USER CODE END USART2_Init 2 */

}

static void MX_GPIO_Init(void) {
    GPIO_InitTypeDef GPIO_InitStruct = {0};

    /* GPIO Ports Clock Enable */
    __HAL_RCC_GPIOA_CLK_ENABLE();
    __HAL_RCC_GPIOB_CLK_ENABLE();
    __HAL_RCC_GPIOC_CLK_ENABLE();
    __HAL_RCC_GPIOD_CLK_ENABLE();

    /*Configure GPIO pin Output Level */
    HAL_GPIO_WritePin(GPIOA, W5500_RESET_Pin | BOARD_LED_Pin, GPIO_PIN_RESET);

    /*Configure GPIO pin Output Level */
    HAL_GPIO_WritePin(GPIOB,
                      W5500_CS_Pin | BrokerStatus_Pin | EthernetStatus_Pin | EthernetStatusN_Pin
                      | CH4Status_Pin | CH3Status_Pin | CH2Status_Pin | CH1Status_Pin,
                      GPIO_PIN_RESET);

    /*Configure GPIO pin Output Level */
    HAL_GPIO_WritePin(BrokerStatusN_GPIO_Port, BrokerStatusN_Pin, GPIO_PIN_RESET);

    /*Configure GPIO pin Output Level */
    HAL_GPIO_WritePin(CH0Status_GPIO_Port, CH0Status_Pin, GPIO_PIN_RESET);

    /*Configure GPIO pin : W5500_RESET_Pin */
    GPIO_InitStruct.Pin = W5500_RESET_Pin;
    GPIO_InitStruct.Mode = GPIO_MODE_OUTPUT_PP;
    GPIO_InitStruct.Pull = GPIO_NOPULL;
    GPIO_InitStruct.Speed = GPIO_SPEED_FREQ_HIGH;
    HAL_GPIO_Init(W5500_RESET_GPIO_Port, &GPIO_InitStruct);

    /*Configure GPIO pin : BOARD_LED_Pin */
    GPIO_InitStruct.Pin = BOARD_LED_Pin;
    GPIO_InitStruct.Mode = GPIO_MODE_OUTPUT_PP;
    GPIO_InitStruct.Pull = GPIO_NOPULL;
    GPIO_InitStruct.Speed = GPIO_SPEED_FREQ_LOW;
    HAL_GPIO_Init(BOARD_LED_GPIO_Port, &GPIO_InitStruct);

    /*Configure GPIO pin : W5500_CS_Pin */
    GPIO_InitStruct.Pin = W5500_CS_Pin;
    GPIO_InitStruct.Mode = GPIO_MODE_OUTPUT_PP;
    GPIO_InitStruct.Pull = GPIO_NOPULL;
    GPIO_InitStruct.Speed = GPIO_SPEED_FREQ_HIGH;
    HAL_GPIO_Init(W5500_CS_GPIO_Port, &GPIO_InitStruct);

    /*Configure GPIO pins : CH4Button_Pin CH3Button_Pin CH2Button_Pin CH1Button_Pin
                             CH0Button_Pin */
    GPIO_InitStruct.Pin = CH4Button_Pin | CH3Button_Pin | CH2Button_Pin | CH1Button_Pin
                          | CH0Button_Pin;
    GPIO_InitStruct.Mode = GPIO_MODE_INPUT;
    GPIO_InitStruct.Pull = GPIO_NOPULL;
    HAL_GPIO_Init(GPIOD, &GPIO_InitStruct);

    /*Configure GPIO pin : BrokerStatusN_Pin */
    GPIO_InitStruct.Pin = BrokerStatusN_Pin;
    GPIO_InitStruct.Mode = GPIO_MODE_OUTPUT_PP;
    GPIO_InitStruct.Pull = GPIO_NOPULL;
    GPIO_InitStruct.Speed = GPIO_SPEED_FREQ_LOW;
    HAL_GPIO_Init(BrokerStatusN_GPIO_Port, &GPIO_InitStruct);

    /*Configure GPIO pins : BrokerStatus_Pin EthernetStatus_Pin EthernetStatusN_Pin CH4Status_Pin
                             CH3Status_Pin CH2Status_Pin CH1Status_Pin */
    GPIO_InitStruct.Pin =
            BrokerStatus_Pin | EthernetStatus_Pin | EthernetStatusN_Pin | CH4Status_Pin
            | CH3Status_Pin | CH2Status_Pin | CH1Status_Pin;
    GPIO_InitStruct.Mode = GPIO_MODE_OUTPUT_PP;
    GPIO_InitStruct.Pull = GPIO_NOPULL;
    GPIO_InitStruct.Speed = GPIO_SPEED_FREQ_LOW;
    HAL_GPIO_Init(GPIOB, &GPIO_InitStruct);

    /*Configure GPIO pin : CH0Status_Pin */
    GPIO_InitStruct.Pin = CH0Status_Pin;
    GPIO_InitStruct.Mode = GPIO_MODE_OUTPUT_PP;
    GPIO_InitStruct.Pull = GPIO_NOPULL;
    GPIO_InitStruct.Speed = GPIO_SPEED_FREQ_LOW;
    HAL_GPIO_Init(CH0Status_GPIO_Port, &GPIO_InitStruct);

}

void Error_Handler(void) {
    __disable_irq();
    while (1) {
    }
}
